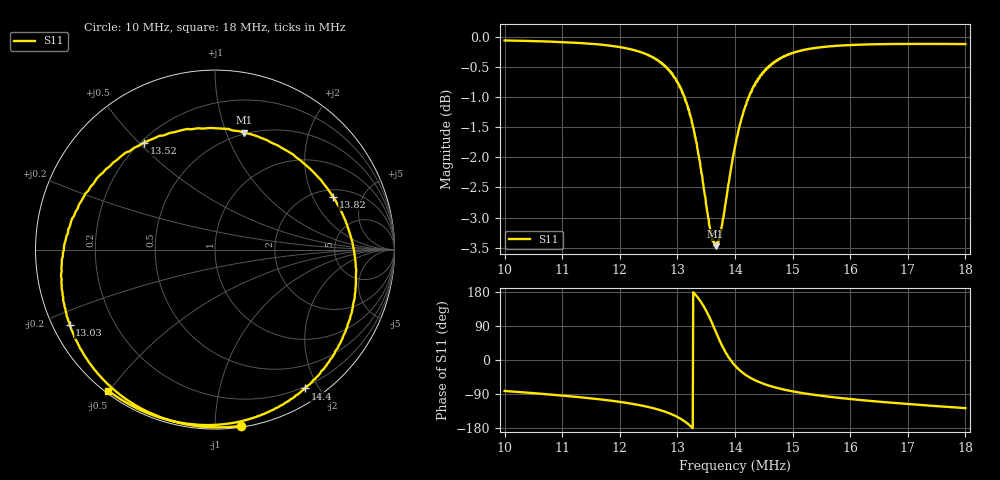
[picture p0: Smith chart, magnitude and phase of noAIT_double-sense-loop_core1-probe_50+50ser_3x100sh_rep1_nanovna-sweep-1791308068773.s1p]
! NanoVNA Web complex sweep
! Processing: unaveraged complex samples; linear segment spacing; no smoothing
# Hz S RI R 50
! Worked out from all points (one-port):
!   1010 points, 10 MHz to 18 MHz, reference 50 ohm
!   lowest |S11| = -3.5 dB at 13.66 MHz (marker M1), VSWR 5.07, Z = 24.4 + j57.6 ohm
!   |S11| at or under -10 dB: nowhere
!   S11 on the Smith chart (normalised r, x): 10 MHz: 0.01, -1.16; 13.03 MHz: 0.05, -0.24; 13.52 MHz: 0.21, +0.52; 13.82 MHz: 2.36, +2.89; 14.4 MHz: 0.18, -1.82; 18 MHz: 0.01, -0.50
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1e7  0.1428 -0.9821
1.100698e7  -0.0678 -0.987
1.200604e7  -0.3456 -0.9169
1.233906e7  -0.4711 -0.8496
1.260864e7  -0.5935 -0.7535
1.282272e7  -0.7046 -0.6256
1.300509e7  -0.7989 -0.449
1.302888e7  -0.8104 -0.4191
1.319539e7  -0.8574 -0.1511
1.331432e7  -0.817 0.1132
1.34174e7  -0.6769 0.3675
1.352048e7  -0.3956 0.5964
1.359977e7  -0.0943 0.6761
1.36632e7  0.1598 0.6511
1.375042e7  0.4782 0.4953
1.382178e7  0.658 0.2941
1.3909e7  0.7651 0.0427
1.400414e7  0.7822 -0.2174
1.408344e7  0.752 -0.3857
1.417858e7  0.6861 -0.5449
1.428959e7  0.5902 -0.6799
1.44006e7  0.5002 -0.7738
1.464639e7  0.3206 -0.8943
1.50032e7  0.1204 -0.9614
1.544722e7  -0.0587 -0.9776
1.600225e7  -0.2212 -0.9581
1.700131e7  -0.4344 -0.885
1.800036e7  -0.5937 -0.7868
